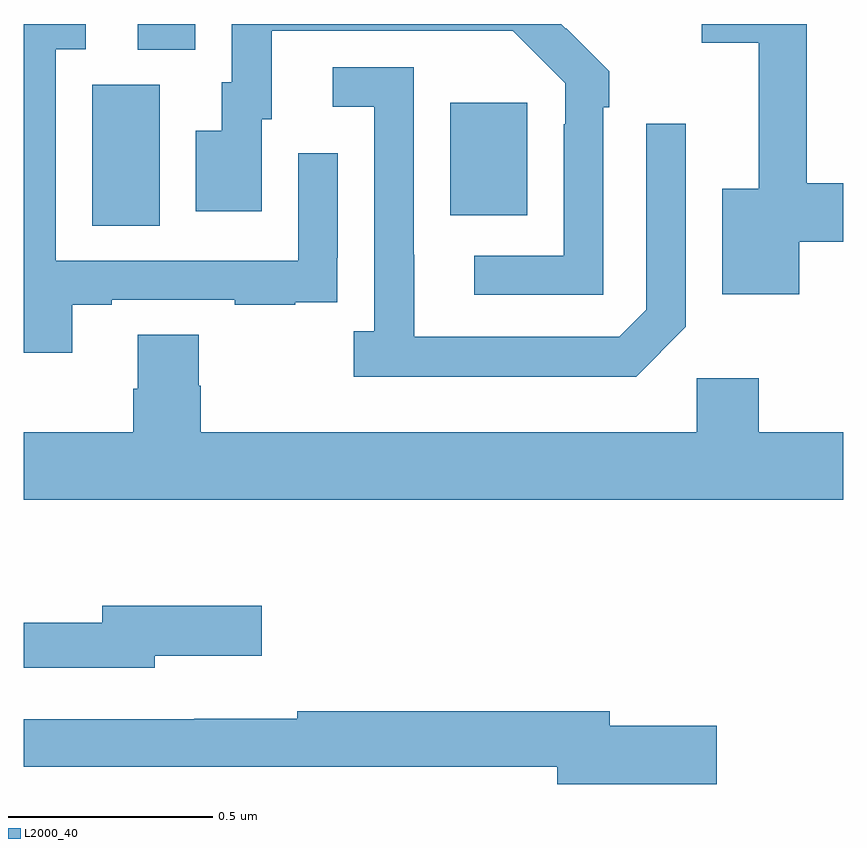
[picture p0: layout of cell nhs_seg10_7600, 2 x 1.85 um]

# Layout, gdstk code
import gdstk
lib = gdstk.Library(unit=1e-6, precision=1e-09)
def R(c, l, rs):  # rectangles x0, y0, x1, y1
    for r in rs: c.add(gdstk.rectangle(r[:2], r[2:], *l))
def P(c, l, *ps):  # polygons
    for p in ps: c.add(gdstk.Polygon(p, *l))
L2000_40 = (2000, 40)

nhs_seg10_7600 = lib.new_cell('nhs_seg10_7600')
R(nhs_seg10_7600, L2000_40, [(206.168,1277.008,206.332,1277.352), (207.041,1277.033,207.229,1277.308), (206.279,1277.437,206.419,1277.5)])
P(nhs_seg10_7600, L2000_40, [(207.892,1276.969),(208,1276.969),(208,1277.111),(207.911,1277.111),(207.911,1277.5),(207.654,1277.5),(207.654,1277.454),(207.794,1277.454),(207.794,1277.098),(207.704,1277.098),(207.704,1276.841),(207.892,1276.841)],
  [(207.414,1277.297),(207.429,1277.297),(207.429,1277.385),(207.324,1277.49),(207.323,1277.489),(207.312,1277.5),(206.508,1277.5),(206.508,1277.358),(206.483,1277.358),(206.483,1277.239),(206.42,1277.239),(206.42,1277.043),(206.581,1277.043),(206.581,1277.268),(206.605,1277.268),(206.605,1277.484),(207.193,1277.484),(207.321,1277.355),(207.321,1277.255),(207.318,1277.255),(207.318,1276.935),(207.099,1276.935),(207.099,1276.839),(207.414,1276.839)],
  [(206.119,1276.815),(206.215,1276.815),(206.215,1276.827),(206.515,1276.827),(206.515,1276.815),(206.663,1276.815),(206.663,1276.821),(206.765,1276.821),(206.765,1276.93),(206.766,1276.93),(206.766,1277.185),(206.67,1277.185),(206.67,1276.923),(206.079,1276.923),(206.079,1277.439),(206.152,1277.439),(206.152,1277.5),(206,1277.5),(206,1276.698),(206.119,1276.698)],
  [(207.615,1276.761),(207.615,1277.257),(207.519,1277.257),(207.519,1276.803),(207.453,1276.737),(206.953,1276.737),(206.953,1276.937),(206.952,1276.937),(206.952,1277.394),(206.754,1277.394),(206.754,1277.298),(206.856,1277.298),(206.856,1276.75),(206.805,1276.75),(206.805,1276.64),(207.494,1276.64)],
  [(208,1276.504),(207.794,1276.504),(207.794,1276.636),(207.642,1276.636),(207.642,1276.504),(206.432,1276.504),(206.432,1276.617),(206.427,1276.617),(206.427,1276.742),(206.279,1276.742),(206.279,1276.61),(206.267,1276.61),(206.267,1276.504),(206,1276.504),(206,1276.34),(208,1276.34)],
  [(206.32,1275.959),(206.581,1275.959),(206.581,1276.081),(206.192,1276.081),(206.192,1276.039),(206,1276.039),(206,1275.93),(206.32,1275.93)],
  [(207.691,1275.788),(207.43,1275.788),(207.43,1275.824),(206.668,1275.824),(206.668,1275.805),(206.416,1275.805),(206.416,1275.804),(206,1275.804),(206,1275.688),(207.302,1275.688),(207.302,1275.646),(207.691,1275.646)])

lib.write_gds('nhs_seg10_7600.gds')
